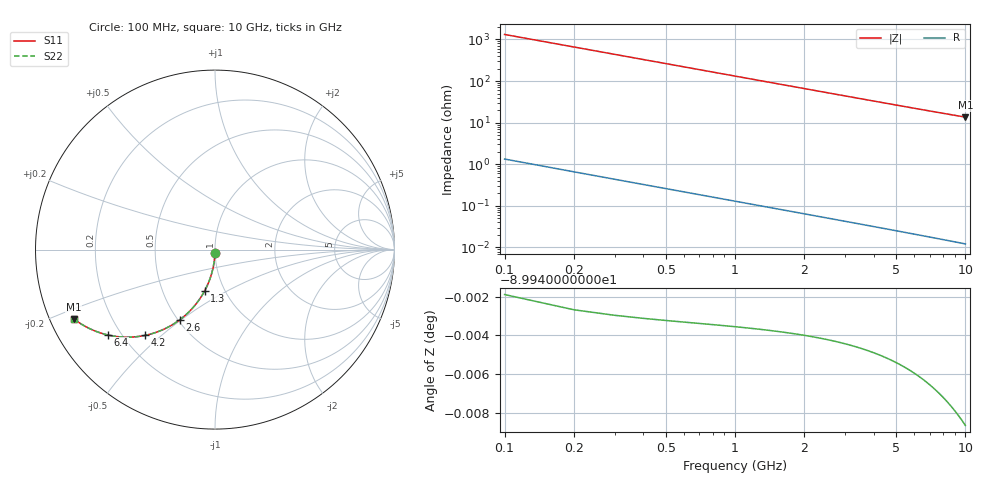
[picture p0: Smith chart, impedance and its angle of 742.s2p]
# Hz S RI R 50.00
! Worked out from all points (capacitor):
!   100 points, 100 MHz to 10 GHz, reference 50 ohm
!   read as one part in shunt: C = 1.21 pF near 100 MHz
!   lowest |Z| = 13.6 ohm at 10 GHz (marker M1)
!   S11 on the Smith chart (normalised r, x): 100 MHz: 1.00, -0.04; 1.3 GHz: 0.81, -0.39; 2.6 GHz: 0.51, -0.49; 4.2 GHz: 0.29, -0.44; 6.4 GHz: 0.15, -0.34; 10 GHz: 0.07, -0.23
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1e8  -0.000336 -0.0188  0.9996 -0.0192  0.9996 -0.0192  -0.000336 -0.0188
2e8  -0.00144 -0.0375  0.9985 -0.0384  0.9985 -0.0384  -0.00144 -0.0375
3e8  -0.00325 -0.0562  0.9967 -0.0575  0.9967 -0.0575  -0.00325 -0.0562
4e8  -0.00578 -0.0747  0.9941 -0.0765  0.9941 -0.0765  -0.00578 -0.0747
5e8  -0.009 -0.0931  0.9909 -0.0953  0.9909 -0.0953  -0.009 -0.0931
6e8  -0.0129 -0.1113  0.987 -0.1139  0.987 -0.1139  -0.0129 -0.1113
7e8  -0.0175 -0.1292  0.9824 -0.1323  0.9824 -0.1323  -0.0175 -0.1292
8e8  -0.0227 -0.1469  0.9772 -0.1504  0.9772 -0.1504  -0.0227 -0.1469
1e9  -0.035 -0.1812  0.9649 -0.1856  0.9649 -0.1856  -0.035 -0.1812
1.3e9  -0.0577 -0.23  0.9422 -0.2357  0.9422 -0.2357  -0.0577 -0.23
1.5e9  -0.0754 -0.2603  0.9245 -0.2669  0.9245 -0.2669  -0.0754 -0.2603
1.8e9  -0.1051 -0.3022  0.8948 -0.3102  0.8948 -0.3102  -0.1051 -0.3022
2.2e9  -0.1492 -0.351  0.8507 -0.3607  0.8507 -0.3607  -0.1492 -0.351
2.6e9  -0.1967 -0.3913  0.8031 -0.4028  0.8031 -0.4028  -0.1967 -0.3913
3.4e9  -0.2952 -0.4482  0.7046 -0.4632  0.7046 -0.4632  -0.2952 -0.4482
4.2e9  -0.3901 -0.478  0.6096 -0.4967  0.6096 -0.4967  -0.3901 -0.478
5.1e9  -0.4857 -0.4879  0.5139 -0.5107  0.5139 -0.5107  -0.4857 -0.4879
6.4e9  -0.5986 -0.4752  0.4009 -0.5041  0.4009 -0.5041  -0.5986 -0.4752
6.7e9  -0.6206 -0.4695  0.3789 -0.4998  0.3789 -0.4998  -0.6206 -0.4695
7.5e9  -0.6725 -0.4516  0.3268 -0.4857  0.3268 -0.4857  -0.6725 -0.4516
8.4e9  -0.7209 -0.4287  0.2783 -0.467  0.2783 -0.467  -0.7209 -0.4287
1e10  -0.7863 -0.3859  0.2125 -0.432  0.2125 -0.432  -0.7863 -0.3859
